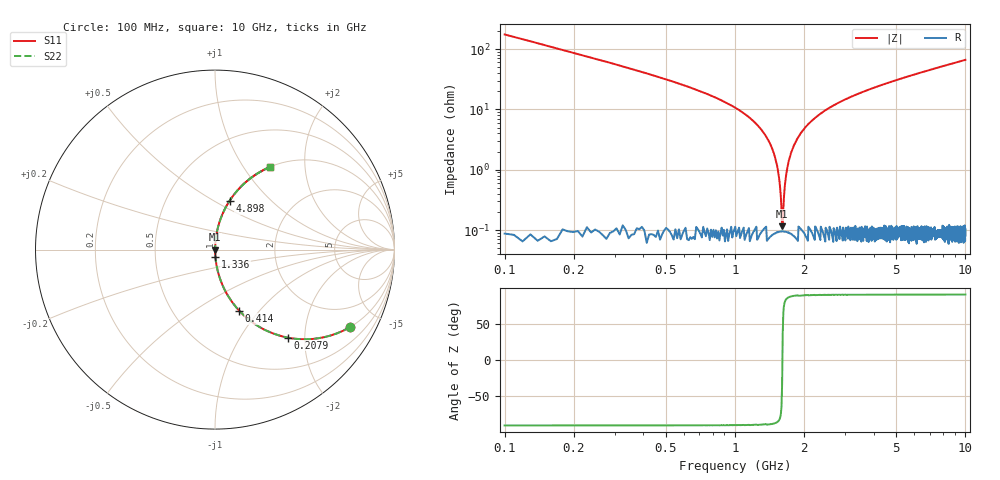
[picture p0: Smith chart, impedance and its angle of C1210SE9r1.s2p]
! AVX Thin Film Operation		Date: April 2012
! Description: Accu-P® Series, Thin Film, SMD, RF Capacitor
! Part Number: 12101J9R1BBTTR
!	100	MHz	-	10.05	GHz
!	Serial	Measurements
#	MHZ	S	MA	R	50
!	S11	S21	S12	S22
!	dB	Phase	dB	Phase	dB	Phase	dB	Phase
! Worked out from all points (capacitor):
!   1010 points, 100 MHz to 10 GHz, reference 50 ohm
!   read as one part in series: C = 9.1 pF near 149.1 MHz
!   lowest |Z| = 115 mohm at 1.601 GHz (marker M1)
!   series resonance near 1.606 GHz, so ESL is about 1.1 nH
!   S11 on the Smith chart (normalised r, x): 100 MHz: 1.00, -3.48; 207.9 MHz: 1.00, -1.65; 414 MHz: 1.00, -0.79; 1.336 GHz: 1.00, -0.08; 4.898 GHz: 1.00, +0.59; 10 GHz: 1.00, +1.32
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100  0.867 -29.8  0.498 60.1  0.498 60.1  0.867 -29.8
207.929  0.637 -50.4  0.77 39.6  0.77 39.6  0.637 -50.4
296.234  0.495 -60.2  0.868 29.7  0.868 29.7  0.495 -60.2
413.974  0.367 -68.4  0.93 21.5  0.93 21.5  0.367 -68.4
1081.169  0.088 -84.4  0.995 5.0  0.995 5.0  0.088 -84.4
1336.274  0.04 -86.4  0.998 2.3  0.998 2.3  0.04 -86.4
1483.449  0.017 -86.0  0.999 1.0  0.999 1.0  0.017 -86.0
1532.507  0.01 -84.4  0.999 0.6  0.999 0.6  0.01 -84.4
1571.754  0.00478 -78.9  0.999 0.3  0.999 0.3  0.00478 -78.9
1601.189  0.00111 -35.9  0.999 0.0  0.999 0.0  0.00111 -35.9
1640.436  0.00471 78.7  0.999 -0.3  0.999 -0.3  0.00471 78.7
1689.495  0.011 84.7  0.999 -0.6  0.999 -0.6  0.011 84.7
1758.176  0.02 86.3  0.999 -1.1  0.999 -1.1  0.02 86.3
1974.034  0.045 86.3  0.998 -2.6  0.998 -2.6  0.045 86.3
2268.385  0.076 84.9  0.996 -4.4  0.996 -4.4  0.076 84.9
2719.722  0.119 82.7  0.992 -6.8  0.992 -6.8  0.119 82.7
3406.541  0.177 79.5  0.983 -10.2  0.983 -10.2  0.177 79.5
4897.919  0.284 73.3  0.958 -16.5  0.958 -16.5  0.284 73.3
5054.906  0.294 72.7  0.955 -17.1  0.955 -17.1  0.294 72.7
6703.271  0.394 66.7  0.918 -23.2  0.918 -23.2  0.394 66.7
8351.635  0.478 61.3  0.877 -28.6  0.877 -28.6  0.478 61.3
10000  0.551 56.5  0.834 -33.4  0.834 -33.4  0.551 56.5
